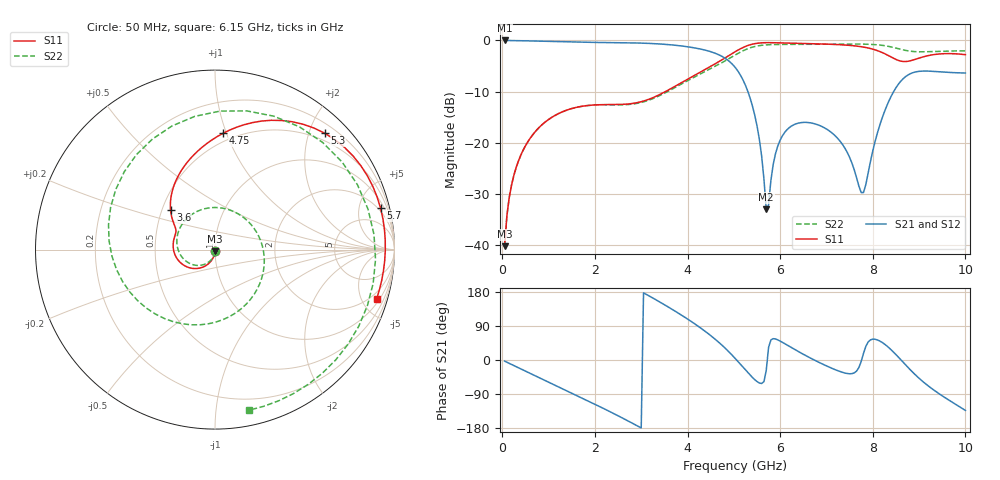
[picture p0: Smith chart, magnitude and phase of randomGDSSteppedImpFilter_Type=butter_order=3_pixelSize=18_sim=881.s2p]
! freq	dB(S11)	phase(S11)	dB(S12)	phase(S12)
!  dB(S21)	phase(S21)	dB(S22)	phase(S22)
!S-par simulation data
#  GHz  S  DB  R 50
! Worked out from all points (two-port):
!   200 points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, 50 MHz to 10 GHz, reference 50 ohm
!   highest |S21| = -0.01 dB at 50 MHz (marker M1); lowest = -33.0 dB at 5.7 GHz (marker M2)
!   |S21| within 3 dB of the highest: start of sweep to 4.721 GHz
!   lowest |S11| = -40.2 dB at 50 MHz (marker M3), VSWR 1.02, Z = 50 - j0.978 ohm
!   |S11| at or under -10 dB: start of sweep to 3.522 GHz
!   |S22| runs from -40.2 to -0.7 dB; largest |S21 - S12| = 0
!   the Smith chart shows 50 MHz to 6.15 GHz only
!   S11 on the Smith chart (normalised r, x): 50 MHz: 1.00, -0.02; 3.6 GHz: 0.56, +0.27; 4.75 GHz: 0.43, +0.97; 5.3 GHz: 0.36, +2.27; 5.7 GHz: 1.61, +7.77; 6.15 GHz: 1.31, -6.39
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0.05  -40.19 -91.2  -0.01 -3.0  -0.01 -3.0  -40.19 -91.8
0.2  -28.24 -100.6  -0.03 -11.8  -0.03 -11.8  -28.25 -102.8
0.5  -20.59 -116.9  -0.08 -29.3  -0.08 -29.3  -20.59 -122.7
1.75  -12.82 -176.4  -0.36 -101.9  -0.36 -101.9  -12.83 151.1
2.65  -12.47 156.7  -0.45 -156.6  -0.45 -156.6  -12.56 68.9
3.4  -10.57 143.9  -0.69 153.1  -0.69 153.1  -10.78 -19.2
3.6  -9.62 138.5  -0.83 138.7  -0.83 138.7  -9.85 -42.8
4.25  -6.32 112.4  -1.63 87.3  -1.63 87.3  -6.68 -119.9
4.75  -3.75 86.1  -3.14 38.4  -3.14 38.4  -4.30 166.9
5.05  -2.10 66.5  -5.52 1.3  -5.52 1.3  -2.74 109.2
5.3  -1.00 46.6  -9.90 -33.0  -9.90 -33.0  -1.62 55.5
5.55  -0.51 25.8  -19.26 -60.7  -19.26 -60.7  -1.01 5.4
5.7  -0.44 14.1  -32.99 -27.2  -32.99 -27.2  -0.87 -20.2
6.15  -0.52 -17.1  -17.42 39.4  -17.42 39.4  -0.78 -78.1
6.7  -0.65 -51.8  -16.18 2.2  -16.18 2.2  -0.74 -125.7
7.3  -0.84 -92.0  -19.75 -30.7  -19.75 -30.7  -0.70 -165.7
7.8  -1.30 -135.1  -29.72 17.5  -29.72 17.5  -0.73 164.3
8.35  -3.02 141.8  -11.80 32.3  -11.80 32.3  -1.18 131.6
8.6  -4.03 79.5  -8.02 1.5  -8.02 1.5  -1.73 118.5
8.95  -3.60 -7.2  -6.11 -42.7  -6.11 -42.7  -2.21 104.2
9.4  -2.68 -77.2  -6.10 -86.3  -6.10 -86.3  -2.13 84.8
10  -2.78 -143.3  -6.37 -133.0  -6.37 -133.0  -2.03 56.6
